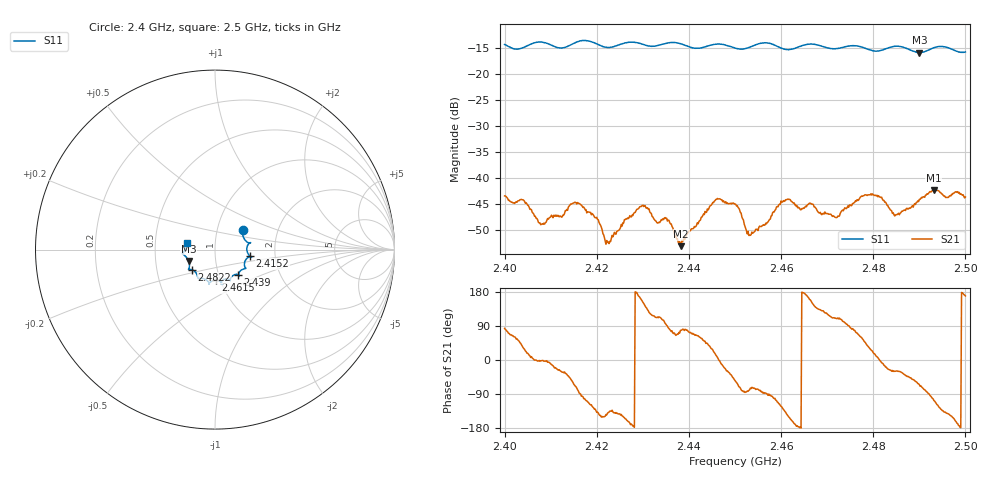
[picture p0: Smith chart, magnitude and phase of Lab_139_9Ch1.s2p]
# Hz S RI R 50
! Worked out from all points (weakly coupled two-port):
!   601 points, 2.4 GHz to 2.5 GHz, reference 50 ohm
!   highest |S21| = -42.27 dB at 2.4932 GHz (marker M1); lowest = -53.1 dB at 2.4383 GHz (marker M2)
!   lowest |S11| = -15.9 dB at 2.49 GHz (marker M3), VSWR 1.38, Z = 36.9 - j4.81 ohm
!   |S11| at or under -10 dB: start of sweep to end of sweep
!   S12 and S22 are empty: the file has one direction only
!   S11 on the Smith chart (normalised r, x): 2.4 GHz: 1.33, +0.31; 2.4152 GHz: 1.48, -0.11; 2.439 GHz: 1.24, -0.36; 2.4615 GHz: 0.95, -0.34; 2.4822 GHz: 0.75, -0.17; 2.5 GHz: 0.72, +0.05
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2.4e9  0.1561 0.1112  0.000765 0.0067  0 0  0 0
2.408167e9  0.1978 0.0392  0.00364 -8.58e-05  0 0  0 0
2.415167e9  0.1944 -0.036  0.00234 -0.00535  0 0  0 0
2.416667e9  0.2041 -0.0417  -0.00053 -0.00547  0 0  0 0
2.422333e9  0.1677 -0.0635  -0.00186 -0.00153  0 0  0 0
2.429833e9  0.1605 -0.1074  -0.005 0.00218  0 0  0 0
2.433333e9  0.1329 -0.1323  -0.00137 0.00346  0 0  0 0
2.435333e9  0.133 -0.146  3.77e-05 0.00387  0 0  0 0
2.438333e9  0.1322 -0.142  0.00044 0.00218  0 0  0 0
2.439e9  0.1281 -0.1392  0.000561 0.00261  0 0  0 0
2.446e9  0.0848 -0.1735  0.00616 0.00112  0 0  0 0
2.45e9  0.0686 -0.1634  0.0033 -0.00459  0 0  0 0
2.4535e9  0.0363 -0.1791  0.000724 -0.00277  0 0  0 0
2.4615e9  0.00536 -0.1706  -0.00531 -0.00336  0 0  0 0
2.466667e9  -0.0332 -0.1904  -0.00496 0.00261  0 0  0 0
2.472e9  -0.0657 -0.1618  -0.00138 0.00394  0 0  0 0
2.477833e9  -0.0968 -0.1508  0.00403 0.00543  0 0  0 0
2.482167e9  -0.1286 -0.112  0.00601 -0.00108  0 0  0 0
2.483333e9  -0.1399 -0.1104  0.00474 -0.00219  0 0  0 0
2.49e9  -0.147 -0.0635  0.00264 -0.00566  0 0  0 0
2.493167e9  -0.1763 -0.0268  -0.00224 -0.00737  0 0  0 0
2.5e9  -0.1585 0.0342  -0.00646 0.00125  0 0  0 0
